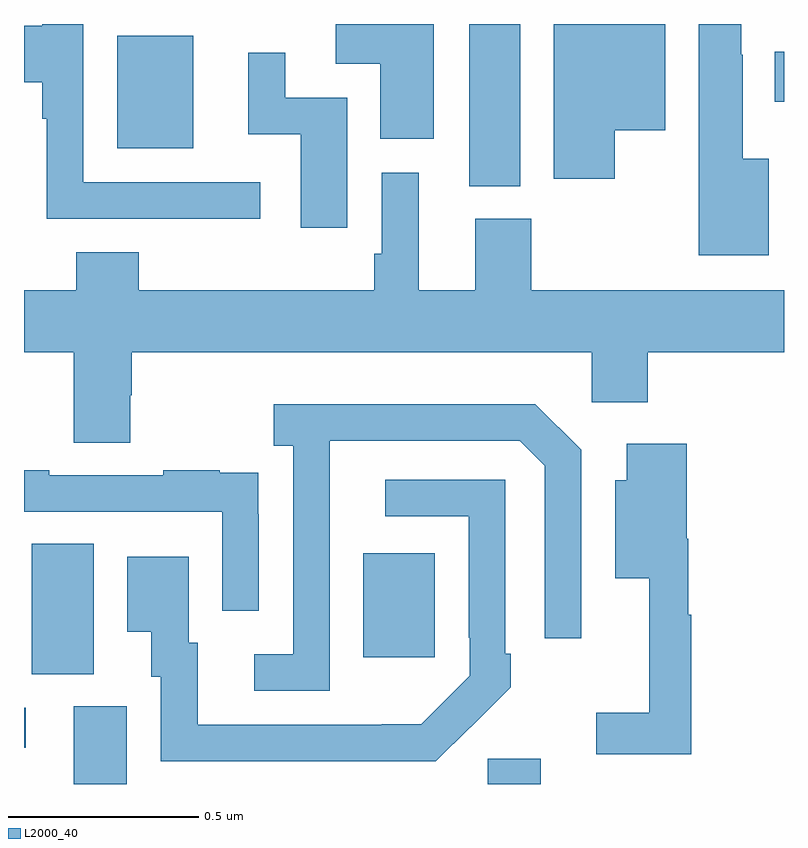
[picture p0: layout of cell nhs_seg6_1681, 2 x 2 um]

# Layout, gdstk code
import gdstk
lib = gdstk.Library(unit=1e-6, precision=1e-09)
def R(c, l, rs):  # rectangles x0, y0, x1, y1
    for r in rs: c.add(gdstk.rectangle(r[:2], r[2:], *l))
def P(c, l, *ps):  # polygons
    for p in ps: c.add(gdstk.Polygon(p, *l))
L2000_40 = (2000, 40)

nhs_seg6_1681 = lib.new_cell('nhs_seg6_1681')
R(nhs_seg6_1681, L2000_40, [(132.131,979.5,132.271,979.704), (133.221,979.5,133.36,979.566), (132,979.596,132.004,979.701), (132.02,979.789,132.184,980.132), (132.893,979.833,133.081,980.107), (133.172,981.073,133.306,981.5), (132.245,981.173,132.445,981.469), (133.976,981.296,134,981.427)])
P(nhs_seg6_1681, L2000_40, [(132.622,981.084),(132.156,981.084),(132.156,981.5),(132.048,981.5),(132.048,981.495),(132,981.495),(132,981.347),(132.048,981.347),(132.048,981.251),(132.06,981.251),(132.06,980.988),(132.385,980.988),(132.385,980.987),(132.622,980.987)],
  [(133.555,981.221),(133.687,981.221),(133.687,981.5),(133.394,981.5),(133.394,981.093),(133.555,981.093)],
  [(133.078,981.5),(132.821,981.5),(132.821,981.395),(132.938,981.395),(132.938,981.198),(133.078,981.198)],
  [(133.96,981.145),(133.891,981.145),(133.891,981.419),(133.887,981.419),(133.887,981.5),(133.775,981.5),(133.775,980.891),(133.96,980.891)],
  [(132.85,981.306),(132.688,981.306),(132.688,981.424),(132.59,981.424),(132.59,981.21),(132.728,981.21),(132.728,980.964),(132.85,980.964)],
  [(132.279,980.523),(132.284,980.523),(132.284,980.636),(133.494,980.636),(133.494,980.505),(133.641,980.505),(133.641,980.636),(134,980.636),(134,980.8),(133.335,980.8),(133.335,980.988),(133.187,980.988),(133.187,980.8),(133.039,980.8),(133.039,981.109),(132.942,981.109),(132.942,980.896),(132.922,980.896),(132.922,980.8),(132.302,980.8),(132.302,980.899),(132.137,980.899),(132.137,980.8),(132,980.8),(132,980.636),(132.131,980.636),(132.131,980.398),(132.279,980.398)],
  [(132.804,980.203),(132.805,980.203),(132.805,980.403),(133.305,980.403),(133.371,980.337),(133.371,979.884),(133.467,979.884),(133.467,980.379),(133.346,980.5),(132.657,980.5),(132.657,980.39),(132.708,980.39),(132.708,979.842),(132.606,979.842),(132.606,979.746),(132.804,979.746)],
  [(133.756,979.946),(133.748,979.946),(133.748,980.146),(133.744,980.146),(133.744,980.395),(133.586,980.395),(133.586,980.299),(133.556,980.299),(133.556,980.042),(133.646,980.042),(133.646,979.687),(133.506,979.687),(133.506,979.578),(133.756,979.578)],
  [(132.618,980.21),(132.617,980.21),(132.617,980.319),(132.515,980.319),(132.515,980.326),(132.367,980.326),(132.367,980.313),(132.067,980.313),(132.067,980.326),(132,980.326),(132,980.217),(132.522,980.217),(132.522,979.956),(132.618,979.956)],
  [(133.175,979.651),(133.176,979.65),(133.281,979.755),(133.281,979.843),(133.266,979.843),(133.266,980.301),(132.951,980.301),(132.951,980.205),(133.17,980.205),(133.17,979.885),(133.173,979.885),(133.173,979.785),(133.045,979.657),(132.941,979.657),(132.941,979.656),(132.457,979.656),(132.457,979.872),(132.433,979.872),(132.433,980.098),(132.272,980.098),(132.272,979.901),(132.335,979.901),(132.335,979.782),(132.36,979.782),(132.36,979.56),(133.084,979.56)])

lib.write_gds('nhs_seg6_1681.gds')
